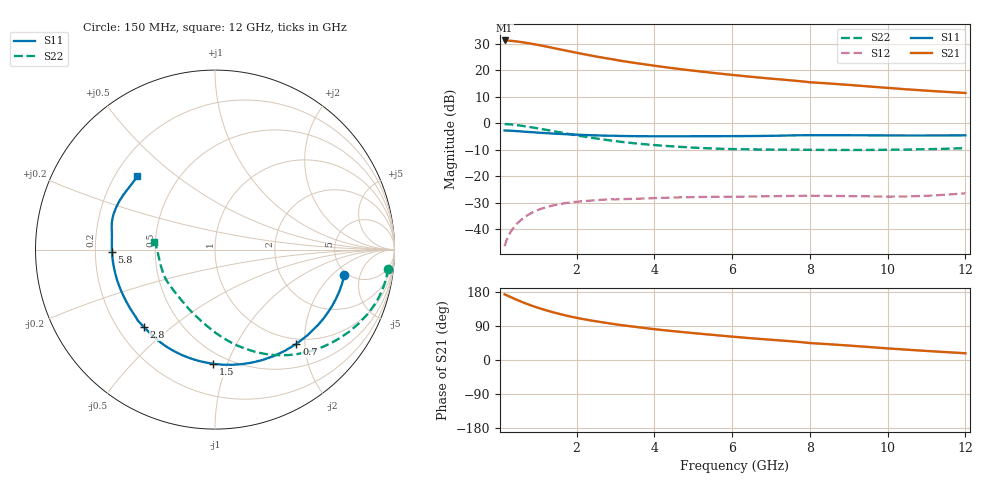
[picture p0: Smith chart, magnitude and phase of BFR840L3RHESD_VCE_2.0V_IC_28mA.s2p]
! Infineon Technologies  Discrete & RF Semiconductors
! BFR840L3RHESD
! VCE =  2.0 V,  IC =  28 mA
! Common Emitter S-Parameters:  Jun 2012
# GHz  S  MA  R  50
!  f  S11  S21  S12  S22
! GHz  MAG  ANG  MAG  ANG  MAG  ANG  MAG  ANG
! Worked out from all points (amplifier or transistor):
!   91 points, 150 MHz to 12 GHz, reference 50 ohm
!   highest |S21| = 31.3 dB at 150 MHz (marker M1)
!   |S21| within 3 dB of that: start of sweep to 1.452 GHz
!   unconditionally stable (mu >= 1): 6.662 GHz to end of sweep
!   at 1.3 GHz: K = 0.22, MSG = 30.1 dB, |S12| = -31.3 dB
!   at 4.3 GHz: K = 0.66, MSG = 24.6 dB, |S12| = -28.1 dB
!   at 12 GHz: K = 1.75, MAG = 13.9 dB, |S12| = -26.4 dB
!   S11 on the Smith chart (normalised r, x): 150 MHz: 4.65, -2.90; 700 MHz: 0.90, -1.83; 1.5 GHz: 0.42, -0.89; 2.8 GHz: 0.31, -0.41; 5.8 GHz: 0.27, -0.01; 12 GHz: 0.29, +0.37
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0.15  0.7338 -11.3  36.82 173.2  0.0048 81.1  0.9704 -6.3
0.3  0.7277 -22.2  36.31 166.3  0.0088 79.1  0.9571 -14.2
0.45  0.7157 -32.8  35.33 159.5  0.0124 71.8  0.9314 -21.1
0.6  0.7024 -42.8  34.12 153.0  0.0156 65.5  0.8991 -27.5
0.7  0.6937 -49.2  33.23 149.0  0.0177 62.2  0.8759 -31.5
0.9  0.6774 -61.1  31.35 141.5  0.0213 57.1  0.8288 -39.1
1.1  0.6623 -72.0  29.41 134.8  0.0245 53.4  0.7825 -46.0
1.3  0.6485 -81.8  27.48 128.8  0.0271 50.2  0.7372 -52.3
1.5  0.6363 -90.9  25.64 123.2  0.0293 47.1  0.6934 -58.1
1.8  0.6209 -103.0  23.11 115.7  0.0318 42.5  0.6317 -66.0
2.2  0.6043 -116.7  20.2 107.4  0.0341 37.3  0.5622 -75.0
2.4  0.597 -122.5  18.93 103.8  0.035 35.5  0.5333 -79.0
2.8  0.5858 -132.4  16.82 97.4  0.0366 33.5  0.484 -86.2
3.4  0.575 -145.5  14.22 88.8  0.0375 30.4  0.4275 -96.1
4.2  0.571 -158.5  11.73 79.2  0.0392 28.6  0.3797 -107.6
5  0.5718 -169.5  9.902 71.0  0.0405 27.5  0.3489 -118.5
5.8  0.5739 -178.5  8.534 63.5  0.0411 26.4  0.3305 -128.6
6.1  0.5749 178.4  8.099 60.8  0.0413 26.4  0.3264 -132.4
8  0.5988 160.5  5.978 44.7  0.043 26.2  0.3168 -156.8
8.5  0.599 156.9  5.666 41.6  0.0427 26.2  0.3153 -161.2
10.5  0.5907 143.4  4.395 27.2  0.0417 33.1  0.3207 -178.4
12  0.5951 136.7  3.753 17.8  0.0477 39.7  0.3403 172.7
